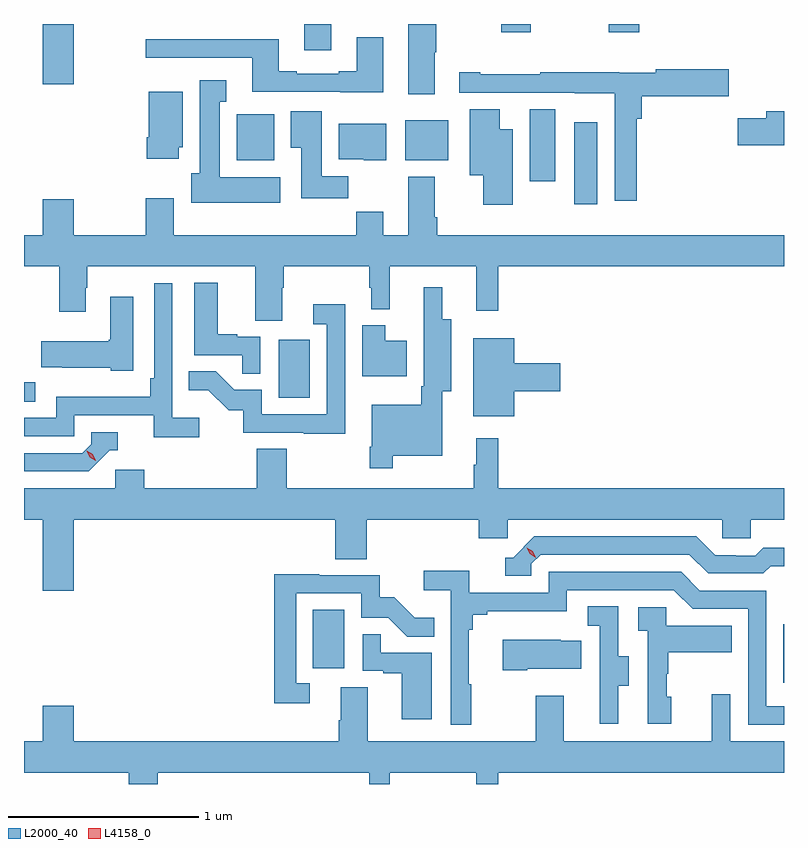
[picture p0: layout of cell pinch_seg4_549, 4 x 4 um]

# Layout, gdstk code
import gdstk
lib = gdstk.Library(unit=1e-6, precision=1e-09)
def R(c, l, rs):  # rectangles x0, y0, x1, y1
    for r in rs: c.add(gdstk.rectangle(r[:2], r[2:], *l))
def P(c, l, *ps):  # polygons
    for p in ps: c.add(gdstk.Polygon(p, *l))
L2000_40 = (2000, 40)
L4158_0 = (4158, 0)

pinch_seg4_549 = lib.new_cell('pinch_seg4_549')
R(pinch_seg4_549, L2000_40, [(1115.958,777.312,1115.961,777.622), (1113.482,777.39,1113.646,777.697), (1111.961,778.792,1112.02,778.895), (1113.302,778.812,1113.466,779.119), (1114.856,779.832,1114.978,780.262), (1114.622,779.952,1114.756,780.332), (1113.08,780.062,1113.277,780.304), (1113.968,780.062,1114.195,780.274), (1112.06,780.462,1112.224,780.78), (1113.437,780.642,1113.577,780.78), (1114.474,780.737,1114.629,780.78), (1115.038,780.737,1115.198,780.78)])
P(pinch_seg4_549, L2000_40, [(1114.123,780.632),(1114.131,780.632),(1114.131,780.78),(1113.983,780.78),(1113.983,780.411),(1114.123,780.411)],
  [(1113.853,780.709),(1113.713,780.709),(1113.713,780.532),(1113.617,780.532),(1113.617,780.519),(1113.397,780.519),(1113.397,780.532),(1113.301,780.532),(1113.301,780.7),(1112.601,780.7),(1112.601,780.603),(1113.161,780.603),(1113.161,780.423),(1113.625,780.423),(1113.625,780.422),(1113.853,780.422)],
  [(1115.186,780.281),(1115.213,780.281),(1115.213,780.401),(1115.671,780.401),(1115.671,780.543),(1115.286,780.543),(1115.286,780.523),(1115.094,780.523),(1115.094,780.526),(1114.679,780.526),(1114.679,780.516),(1114.363,780.516),(1114.363,780.526),(1114.251,780.526),(1114.251,780.417),(1114.86,780.417),(1114.86,780.416),(1115.07,780.416),(1115.07,779.85),(1115.186,779.85)],
  [(1113.31,779.974),(1112.992,779.974),(1112.992,780.371),(1113.025,780.371),(1113.025,780.484),(1112.885,780.484),(1112.885,779.994),(1112.84,779.994),(1112.84,779.84),(1113.31,779.84)],
  [(1112.776,780.132),(1112.797,780.132),(1112.797,780.424),(1112.618,780.424),(1112.618,780.184),(1112.606,780.184),(1112.606,780.072),(1112.776,780.072)],
  [(1114.534,780.226),(1114.465,780.226),(1114.465,780.332),(1114.307,780.332),(1114.307,779.984),(1114.379,779.984),(1114.379,779.829),(1114.534,779.829)],
  [(1113.668,779.98),(1113.529,779.98),(1113.529,780.322),(1113.365,780.322),(1113.365,780.128),(1113.419,780.128),(1113.419,779.862),(1113.668,779.862)],
  [(1115.961,780.32),(1115.867,780.32),(1115.867,780.284),(1115.718,780.284),(1115.718,780.142),(1115.961,780.142)],
  [(1113.868,780.256),(1113.617,780.256),(1113.617,780.068),(1113.75,780.068),(1113.75,780.062),(1113.868,780.062)],
  [(1113.319,779.392),(1113.327,779.392),(1113.327,779.504),(1113.777,779.504),(1113.777,779.392),(1113.788,779.392),(1113.788,779.279),(1113.887,779.279),(1113.887,779.504),(1114.34,779.504),(1114.34,779.271),(1114.457,779.271),(1114.457,779.504),(1115.961,779.504),(1115.961,779.668),(1114.136,779.668),(1114.136,779.764),(1114.123,779.764),(1114.123,779.977),(1113.983,779.977),(1113.983,779.668),(1113.853,779.668),(1113.853,779.792),(1113.709,779.792),(1113.709,779.668),(1112.749,779.668),(1112.749,779.863),(1112.602,779.863),(1112.602,779.668),(1112.224,779.668),(1112.224,779.857),(1112.06,779.857),(1112.06,779.668),(1111.961,779.668),(1111.961,779.504),(1112.147,779.504),(1112.147,779.265),(1112.287,779.265),(1112.287,779.393),(1112.295,779.393),(1112.295,779.504),(1113.179,779.504),(1113.179,779.218),(1113.319,779.218)],
  [(1113.204,779.133),(1113.083,779.133),(1113.083,779.146),(1112.98,779.146),(1112.98,779.419),(1112.858,779.419),(1112.858,779.037),(1113.109,779.037),(1113.109,778.939),(1113.204,778.939)],
  [(1112.884,778.708),(1112.742,778.708),(1112.742,779.416),(1112.646,779.416),(1112.646,778.915),(1112.626,778.915),(1112.626,778.819),(1112.13,778.819),(1112.13,778.707),(1111.961,778.707),(1111.961,778.611),(1112.226,778.611),(1112.226,778.722),(1112.645,778.722),(1112.645,778.606),(1112.884,778.606)],
  [(1113.901,778.508),(1114.161,778.508),(1114.161,778.847),(1114.21,778.847),(1114.21,779.227),(1114.163,779.227),(1114.163,779.395),(1114.065,779.395),(1114.065,778.873),(1114.053,778.873),(1114.053,778.777),(1113.792,778.777),(1113.792,778.555),(1113.78,778.555),(1113.78,778.443),(1113.901,778.443)],
  [(1112.536,779.344),(1112.414,779.344),(1112.414,779.118),(1112.407,779.118),(1112.407,779.11),(1112.053,779.11),(1112.053,778.973),(1112.161,778.973),(1112.161,778.97),(1112.418,778.97),(1112.418,778.955),(1112.536,778.955)],
  [(1113.651,779.305),(1113.483,779.305),(1113.483,779.199),(1113.555,779.199),(1113.555,778.725),(1113.213,778.725),(1113.213,778.854),(1113.068,778.854),(1112.97,778.952),(1112.827,778.952),(1112.827,778.853),(1112.931,778.853),(1113.038,778.746),(1113.115,778.746),(1113.115,778.629),(1113.433,778.629),(1113.433,778.624),(1113.651,778.624)],
  [(1113.976,779.113),(1113.862,779.113),(1113.862,779.194),(1113.74,779.194),(1113.74,778.925),(1113.976,778.925)],
  [(1114.54,778.847),(1114.783,778.847),(1114.783,778.994),(1114.54,778.994),(1114.54,779.125),(1114.325,779.125),(1114.325,778.715),(1114.54,778.715)],
  [(1112.412,778.536),(1112.455,778.536),(1112.455,778.632),(1112.316,778.632),(1112.316,778.569),(1112.268,778.521),(1111.961,778.521),(1111.961,778.425),(1112.301,778.425)],
  [(1114.355,778.074),(1114.506,778.074),(1114.506,778.172),(1115.637,778.172),(1115.637,778.074),(1115.787,778.074),(1115.787,778.172),(1115.961,778.172),(1115.961,778.336),(1114.457,778.336),(1114.457,778.6),(1114.34,778.6),(1114.34,778.46),(1114.329,778.46),(1114.329,778.336),(1113.345,778.336),(1113.345,778.544),(1113.185,778.544),(1113.185,778.336),(1112.594,778.336),(1112.594,778.434),(1112.442,778.434),(1112.442,778.336),(1111.961,778.336),(1111.961,778.172),(1112.06,778.172),(1112.06,777.798),(1112.224,777.798),(1112.224,778.172),(1113.599,778.172),(1113.599,777.964),(1113.764,777.964),(1113.764,778.172),(1114.355,778.172)],
  [(1114.632,777.939),(1114.68,777.987),(1115.463,777.987),(1115.562,777.888),(1115.851,777.888),(1115.89,777.927),(1115.961,777.927),(1115.961,778.024),(1115.851,778.024),(1115.809,777.981),(1115.706,777.981),(1115.706,777.984),(1115.599,777.984),(1115.5,778.083),(1114.647,778.083),(1114.536,777.972),(1114.493,777.972),(1114.493,777.876),(1114.632,777.876)],
  [(1114.315,777.305),(1114.303,777.305),(1114.303,777.593),(1114.322,777.593),(1114.322,777.67),(1114.399,777.67),(1114.399,777.689),(1114.818,777.689),(1114.818,777.801),(1115.382,777.801),(1115.481,777.702),(1115.772,777.702),(1115.772,777.093),(1115.961,777.093),(1115.961,777.189),(1115.868,777.189),(1115.868,777.798),(1115.518,777.798),(1115.419,777.897),(1114.722,777.897),(1114.722,777.786),(1114.304,777.786),(1114.304,777.902),(1114.065,777.902),(1114.065,777.8),(1114.206,777.8),(1114.206,777.093),(1114.315,777.093)],
  [(1113.466,777.309),(1113.393,777.309),(1113.393,777.783),(1113.735,777.783),(1113.735,777.654),(1113.879,777.654),(1113.977,777.556),(1114.121,777.556),(1114.121,777.655),(1114.017,777.655),(1113.91,777.762),(1113.834,777.762),(1113.834,777.879),(1113.515,777.879),(1113.515,777.884),(1113.277,777.884),(1113.277,777.204),(1113.466,777.204)],
  [(1115.089,777.298),(1115.143,777.298),(1115.143,777.453),(1115.088,777.453),(1115.088,777.716),(1114.929,777.716),(1114.929,777.613),(1114.992,777.613),(1114.992,777.309),(1114.991,777.309),(1114.991,777.096),(1115.089,777.096)],
  [(1115.368,777.24),(1115.343,777.24),(1115.343,777.359),(1115.353,777.359),(1115.353,777.473),(1115.687,777.473),(1115.687,777.613),(1115.34,777.613),(1115.34,777.711),(1115.193,777.711),(1115.193,777.587),(1115.244,777.587),(1115.244,777.096),(1115.368,777.096)],
  [(1114.108,777.471),(1113.839,777.471),(1113.839,777.569),(1113.744,777.569),(1113.744,777.375),(1113.851,777.375),(1113.851,777.363),(1113.95,777.363),(1113.95,777.12),(1114.108,777.12)],
  [(1114.609,777.386),(1114.895,777.386),(1114.895,777.535),(1114.787,777.535),(1114.787,777.538),(1114.481,777.538),(1114.481,777.379),(1114.609,777.379)],
  [(1112.666,776.84),(1113.777,776.84),(1113.777,776.78),(1113.887,776.78),(1113.887,776.84),(1114.34,776.84),(1114.34,776.78),(1114.457,776.78),(1114.457,776.84),(1115.961,776.84),(1115.961,777.004),(1115.679,777.004),(1115.679,777.253),(1115.582,777.253),(1115.582,777.004),(1114.801,777.004),(1114.801,777.244),(1114.654,777.244),(1114.654,777.004),(1113.769,777.004),(1113.769,777.29),(1113.629,777.29),(1113.629,777.116),(1113.617,777.116),(1113.617,777.004),(1112.224,777.004),(1112.224,777.193),(1112.06,777.193),(1112.06,777.004),(1111.961,777.004),(1111.961,776.84),(1112.513,776.84),(1112.513,776.78),(1112.666,776.78)])
P(pinch_seg4_549, L4158_0, [(1114.654,777.972),(1114.624,777.991),(1114.607,778.023),(1114.607,778.023),(1114.607,778.023),(1114.638,778.004),(1114.655,777.972),(1114.655,777.972)],
  [(1112.338,778.482),(1112.307,778.501),(1112.291,778.534),(1112.291,778.534),(1112.291,778.534),(1112.322,778.515),(1112.338,778.482),(1112.338,778.482)])

lib.write_gds('pinch_seg4_549.gds')
